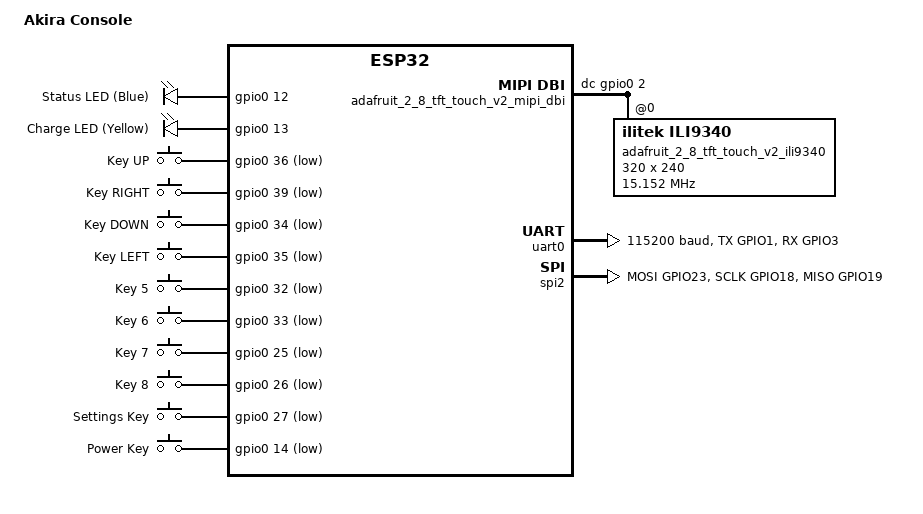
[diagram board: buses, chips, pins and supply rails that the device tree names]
/*
 * Copyright (c) 2025 AkiraOS
 *
 * SPDX-License-Identifier: Apache-2.0
 */

#include <dt-bindings/pinctrl/esp32-pinctrl.h>
#include <zephyr/dt-bindings/display/ili9xxx.h>

/ {
    model = "Akira Console";
    compatible = "espressif,esp32", "akira,akira-console";

    chosen {
        zephyr,sram = &sram0;
        zephyr,console = &uart0;
        zephyr,shell-uart = &uart0;
        zephyr,flash = &flash0;
        zephyr,code-partition = &slot0_partition;
        zephyr,uart-mcumgr = &uart0;
        
        zephyr,display = &adafruit_2_8_tft_touch_v2_ili9340;
    };

    aliases {
        status-led = &status_led;
        charge-led = &charge_led;
    };



	adafruit_2_8_tft_touch_v2_mipi_dbi: adafruit_2_8_tft_touch_v2_mipi_dbi {
		compatible = "zephyr,mipi-dbi-spi";
		spi-dev = <&spi2>;
		dc-gpios = <&gpio0 2 GPIO_ACTIVE_HIGH>;	/* D9 */
		write-only;
		#address-cells = <1>;
		#size-cells = <0>;

		adafruit_2_8_tft_touch_v2_ili9340: ili9340@0 {
			compatible = "ilitek,ili9340";
			mipi-max-frequency = <15151515>;
			reg = <0>;
			width = <320>;
			height = <240>;
			pixel-format = <ILI9XXX_PIXEL_FORMAT_RGB888>;
			rotation = <90>;
			frmctr1 = [00 18];
			pwctrl1 = [23 00];
			vmctrl1 = [3e 28];
			vmctrl2 = [86];
			pgamctrl = [0f 31 2b 0c 0e 08 4e f1 37 07 10 03 0e 09 00];
			ngamctrl = [00 0e 14 03 11 07 31 c1 48 08 0f 0c 31 36 0f];
		};
	};

    leds {
        compatible = "gpio-leds";
        
        status_led: status_led {
            gpios = <&gpio0 12 GPIO_ACTIVE_HIGH>;
            label = "Status LED (Blue)";
        };
        
        charge_led: charge_led {
            gpios = <&gpio0 13 GPIO_ACTIVE_HIGH>;
            label = "Charge LED (Yellow)";
        };
    };

    gpio_keys {
        compatible = "gpio-keys";
        
        key_up: key_up {
            gpios = <&gpio0 36 (GPIO_PULL_UP | GPIO_ACTIVE_LOW)>;
            label = "Key UP";
        };
        
        key_right: key_right {
            gpios = <&gpio0 39 (GPIO_PULL_UP | GPIO_ACTIVE_LOW)>;
            label = "Key RIGHT";
        };
        
        key_down: key_down {
            gpios = <&gpio0 34 (GPIO_PULL_UP | GPIO_ACTIVE_LOW)>;
            label = "Key DOWN";
        };
        
        key_left: key_left {
            gpios = <&gpio0 35 (GPIO_PULL_UP | GPIO_ACTIVE_LOW)>;
            label = "Key LEFT";
        };
        
        key5: key5 {
            gpios = <&gpio0 32 (GPIO_PULL_UP | GPIO_ACTIVE_LOW)>;
            label = "Key 5";
        };
        
        key6: key6 {
            gpios = <&gpio0 33 (GPIO_PULL_UP | GPIO_ACTIVE_LOW)>;
            label = "Key 6";
        };
        
        key7: key7 {
            gpios = <&gpio0 25 (GPIO_PULL_UP | GPIO_ACTIVE_LOW)>;
            label = "Key 7";
        };
        
        key8: key8 {
            gpios = <&gpio0 26 (GPIO_PULL_UP | GPIO_ACTIVE_LOW)>;
            label = "Key 8";
        };
        
        key_settings: key_settings {
            gpios = <&gpio0 27 (GPIO_PULL_UP | GPIO_ACTIVE_LOW)>;
            label = "Settings Key";
        };
        
        key_power: key_power {
            gpios = <&gpio0 14 (GPIO_PULL_UP | GPIO_ACTIVE_LOW)>;
            label = "Power Key";
        };
    };
};

&uart0 {
    status = "okay";
    current-speed = <115200>;
    pinctrl-0 = <&uart0_default>;
    pinctrl-names = "default";
};

&gpio0 {
    status = "okay";
};

&pinctrl {
    uart0_default: uart0_default {
        group1 {
            pinmux = <UART0_TX_GPIO1>;
        };
        group2 {
            pinmux = <UART0_RX_GPIO3>;
        };
    };

    spim2_default: spim2_default {
        group1 {
            pinmux = <SPIM2_MOSI_GPIO23>,
                     <SPIM2_SCLK_GPIO18>;
        };
        group2 {
            pinmux = <SPIM2_MISO_GPIO19>;
            bias-pull-up;
        };
    };
};

&spi2 {
    status = "okay";
    pinctrl-0 = <&spim2_default>;
    pinctrl-names = "default";
    cs-gpios = <&gpio0 5 GPIO_ACTIVE_LOW>,   /* Display CS */
               <&gpio0 15 GPIO_ACTIVE_LOW>;  /* SD Card CS */
    #address-cells = <1>;
    #size-cells = <0>;
    
};

&flash0 {
    status = "okay";
    partitions {
        compatible = "fixed-partitions";
        #address-cells = <1>;
        #size-cells = <1>;

        boot_partition: partition@1000 {
            label = "mcuboot";
            reg = <0x00001000 0x0000F000>;
            read-only;
        };

        slot0_partition: partition@10000 {
            label = "slot0";
            reg = <0x00010000 0x00100000>;
        };

        slot1_partition: partition@110000 {
            label = "slot1";
            reg = <0x00110000 0x00100000>;
        };

        scratch_partition: partition@210000 {
            label = "image-scratch";
            reg = <0x00210000 0x00040000>;
        };

        storage_partition: partition@250000 {
            label = "storage";
            reg = <0x00250000 0x00006000>;
        };
    };
};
